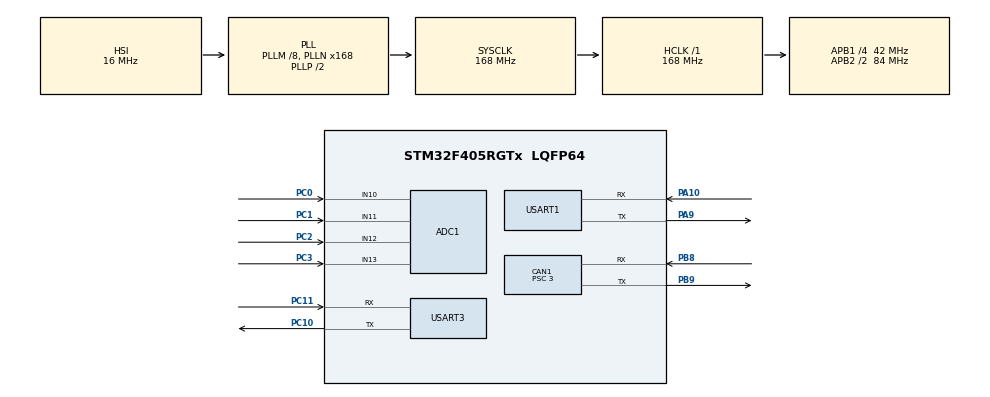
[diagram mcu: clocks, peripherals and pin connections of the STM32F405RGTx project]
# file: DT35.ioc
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ADC1.Channel-1\#ChannelRegularConversion=ADC_CHANNEL_10
ADC1.Channel-2\#ChannelRegularConversion=ADC_CHANNEL_11
ADC1.Channel-3\#ChannelRegularConversion=ADC_CHANNEL_12
ADC1.Channel-4\#ChannelRegularConversion=ADC_CHANNEL_13
ADC1.ContinuousConvMode=ENABLE
ADC1.DMAContinuousRequests=ENABLE
ADC1.NbrOfConversion=4
ADC1.NbrOfConversionFlag=1
ADC1.Rank-1\#ChannelRegularConversion=1
ADC1.Rank-2\#ChannelRegularConversion=2
ADC1.Rank-3\#ChannelRegularConversion=3
ADC1.Rank-4\#ChannelRegularConversion=4
ADC1.SamplingTime-1\#ChannelRegularConversion=ADC_SAMPLETIME_112CYCLES
ADC1.SamplingTime-2\#ChannelRegularConversion=ADC_SAMPLETIME_112CYCLES
ADC1.SamplingTime-3\#ChannelRegularConversion=ADC_SAMPLETIME_112CYCLES
ADC1.SamplingTime-4\#ChannelRegularConversion=ADC_SAMPLETIME_112CYCLES
ADC1.ScanConvMode=ENABLE
ADC1.master=1
CAN1.ABOM=ENABLE
CAN1.BS1=CAN_BS1_9TQ
CAN1.BS2=CAN_BS2_4TQ
CAN1.CalculateBaudRate=1000000
CAN1.CalculateTimeBit=1000
CAN1.CalculateTimeQuantum=71.42857142857143
CAN1.NART=ENABLE
CAN1.Prescaler=3
CAN1.TXFP=ENABLE
Dma.ADC1.0.Direction=DMA_PERIPH_TO_MEMORY
Dma.ADC1.0.FIFOMode=DMA_FIFOMODE_DISABLE
Dma.ADC1.0.Instance=DMA2_Stream0
Dma.ADC1.0.MemDataAlignment=DMA_MDATAALIGN_HALFWORD
Dma.ADC1.0.MemInc=DMA_MINC_ENABLE
Dma.ADC1.0.Mode=DMA_CIRCULAR
Dma.ADC1.0.PeriphDataAlignment=DMA_PDATAALIGN_HALFWORD
Dma.ADC1.0.PeriphInc=DMA_PINC_DISABLE
Dma.ADC1.0.Priority=DMA_PRIORITY_LOW
Dma.Request0=ADC1
Dma.Request1=USART3_RX
Dma.Request2=USART3_TX
Dma.Request3=USART1_RX
Dma.Request4=USART1_TX
Dma.USART1_RX.3.Direction=DMA_PERIPH_TO_MEMORY
Dma.USART1_RX.3.FIFOMode=DMA_FIFOMODE_DISABLE
Dma.USART1_RX.3.Instance=DMA2_Stream2
Dma.USART1_RX.3.MemDataAlignment=DMA_MDATAALIGN_BYTE
Dma.USART1_RX.3.MemInc=DMA_MINC_ENABLE
Dma.USART1_RX.3.Mode=DMA_NORMAL
Dma.USART1_RX.3.PeriphDataAlignment=DMA_PDATAALIGN_BYTE
Dma.USART1_RX.3.PeriphInc=DMA_PINC_DISABLE
Dma.USART1_RX.3.Priority=DMA_PRIORITY_LOW
Dma.USART1_TX.4.Direction=DMA_MEMORY_TO_PERIPH
Dma.USART1_TX.4.FIFOMode=DMA_FIFOMODE_DISABLE
Dma.USART1_TX.4.Instance=DMA2_Stream7
Dma.USART1_TX.4.MemDataAlignment=DMA_MDATAALIGN_BYTE
Dma.USART1_TX.4.MemInc=DMA_MINC_ENABLE
Dma.USART1_TX.4.Mode=DMA_NORMAL
Dma.USART1_TX.4.PeriphDataAlignment=DMA_PDATAALIGN_BYTE
Dma.USART1_TX.4.PeriphInc=DMA_PINC_DISABLE
Dma.USART1_TX.4.Priority=DMA_PRIORITY_LOW
Dma.USART3_RX.1.Direction=DMA_PERIPH_TO_MEMORY
Dma.USART3_RX.1.FIFOMode=DMA_FIFOMODE_DISABLE
Dma.USART3_RX.1.Instance=DMA1_Stream1
Dma.USART3_RX.1.MemDataAlignment=DMA_MDATAALIGN_BYTE
Dma.USART3_RX.1.MemInc=DMA_MINC_ENABLE
Dma.USART3_RX.1.Mode=DMA_NORMAL
Dma.USART3_RX.1.PeriphDataAlignment=DMA_PDATAALIGN_BYTE
Dma.USART3_RX.1.PeriphInc=DMA_PINC_DISABLE
Dma.USART3_RX.1.Priority=DMA_PRIORITY_LOW
Dma.USART3_TX.2.Direction=DMA_MEMORY_TO_PERIPH
Dma.USART3_TX.2.FIFOMode=DMA_FIFOMODE_DISABLE
Dma.USART3_TX.2.Instance=DMA1_Stream3
Dma.USART3_TX.2.MemDataAlignment=DMA_MDATAALIGN_BYTE
Dma.USART3_TX.2.MemInc=DMA_MINC_ENABLE
Dma.USART3_TX.2.Mode=DMA_NORMAL
Dma.USART3_TX.2.PeriphDataAlignment=DMA_PDATAALIGN_BYTE
Dma.USART3_TX.2.PeriphInc=DMA_PINC_DISABLE
Dma.USART3_TX.2.Priority=DMA_PRIORITY_LOW
Mcu.Family=STM32F4
Mcu.Name=STM32F405RGTx
Mcu.Package=LQFP64
NVIC.CAN1_RX0_IRQn=true\:3\:0\:true\:false\:true\:true\:true\:true
NVIC.CAN1_TX_IRQn=true\:0\:0\:false\:false\:true\:true\:true\:true
NVIC.DMA1_Stream1_IRQn=true\:0\:0\:false\:false\:true\:false\:true\:true
NVIC.DMA1_Stream3_IRQn=true\:0\:0\:false\:false\:true\:false\:true\:true
NVIC.DMA2_Stream0_IRQn=true\:1\:0\:true\:false\:true\:false\:true\:true
NVIC.DMA2_Stream2_IRQn=true\:0\:0\:false\:false\:true\:false\:true\:true
NVIC.DMA2_Stream7_IRQn=true\:0\:0\:false\:false\:true\:false\:true\:true
NVIC.PriorityGroup=NVIC_PRIORITYGROUP_4
NVIC.TIM1_UP_TIM10_IRQn=true\:0\:0\:false\:false\:true\:true\:true\:true
NVIC.TIM6_DAC_IRQn=true\:0\:0\:false\:false\:true\:true\:true\:true
NVIC.USART1_IRQn=true\:0\:0\:false\:false\:true\:true\:true\:true
NVIC.USART3_IRQn=true\:0\:0\:false\:false\:true\:true\:true\:true
PA10.Mode=Asynchronous
PA10.Signal=USART1_RX
PA13.Mode=Serial_Wire
PA13.Signal=SYS_JTMS-SWDIO
PA14.Mode=Serial_Wire
PA14.Signal=SYS_JTCK-SWCLK
PA9.Mode=Asynchronous
PA9.Signal=USART1_TX
PB8.Mode=CAN_Activate
PB8.Signal=CAN1_RX
PB9.Mode=CAN_Activate
PB9.Signal=CAN1_TX
PC0.Signal=ADCx_IN10
PC1.Signal=ADCx_IN11
PC10.Mode=Asynchronous
PC10.Signal=USART3_TX
PC11.Mode=Asynchronous
PC11.Signal=USART3_RX
PC2.Signal=ADCx_IN12
PC3.Signal=ADCx_IN13
PH0-OSC_IN.Mode=HSE-External-Oscillator
PH0-OSC_IN.Signal=RCC_OSC_IN
PH1-OSC_OUT.Mode=HSE-External-Oscillator
PH1-OSC_OUT.Signal=RCC_OSC_OUT
ProjectManager.HeapSize=0x200
ProjectManager.StackSize=0x400
ProjectManager.TargetToolchain=CMake
RCC.48MHZClocksFreq_Value=84000000
RCC.AHBFreq_Value=168000000
RCC.APB1CLKDivider=RCC_HCLK_DIV4
RCC.APB1Freq_Value=42000000
RCC.APB1TimFreq_Value=84000000
RCC.APB2CLKDivider=RCC_HCLK_DIV2
RCC.APB2Freq_Value=84000000
RCC.APB2TimFreq_Value=168000000
RCC.CortexFreq_Value=168000000
RCC.HCLKFreq_Value=168000000
RCC.HSE_VALUE=25000000
RCC.HSI_VALUE=16000000
RCC.LSE_VALUE=32768
RCC.PLLM=8
RCC.PLLN=168
RCC.SYSCLKFreq_VALUE=168000000
RCC.SYSCLKSource=RCC_SYSCLKSOURCE_PLLCLK
RCC.VCOOutputFreq_Value=336000000
SH.ADCx_IN10.0=ADC1_IN10,IN10
SH.ADCx_IN11.0=ADC1_IN11,IN11
SH.ADCx_IN12.0=ADC1_IN12,IN12
SH.ADCx_IN13.0=ADC1_IN13,IN13
TIM10.Period=10000-1
TIM10.Prescaler=168-1
TIM6.AutoReloadPreload=TIM_AUTORELOAD_PRELOAD_ENABLE
TIM6.Period=100-1
TIM6.Prescaler=1680-1
USART1.VirtualMode=VM_ASYNC
USART3.VirtualMode=VM_ASYNC
VP_TIM10_VS_ClockSourceINT.Mode=Enable_Timer
VP_TIM6_VS_ClockSourceINT.Mode=Enable_Timer
board=custom

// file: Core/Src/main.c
/* USER CODE BEGIN Header */
/**
  ******************************************************************************
  * @file           : main.c
  * @brief          : Main program body
  ******************************************************************************
  * @attention
  *
  * Copyright (c) 2025 STMicroelectronics.
  * All rights reserved.
  *
  * This software is licensed under terms that can be found in the LICENSE file
  * in the root directory of this software component.
  * If no LICENSE file comes with this software, it is provided AS-IS.
  *
  ******************************************************************************
  */
/* USER CODE END Header */
#include "main.h"
#include "adc.h"
#include "can.h"
#include "dma.h"
#include "tim.h"
#include "usart.h"
#include "gpio.h"

/* USER CODE BEGIN Includes */
#include <string.h>

#include "adc_scan.h"
#include "../Inc/callback.h"
#include "can_fifo.h"

/* USER CODE END Includes */

/* USER CODE BEGIN PV */
extern DMA_HandleTypeDef hdma_usart3_rx;
extern DMA_HandleTypeDef hdma_usart1_rx;
extern uint16_t can_id[4];             // 4 路 DT35 的 CAN ID
extern float calib_k[4], calib_b[4]; // 每个 DT35 的线性系数
extern float can_data[4];         // 4 路 DT35 的距离数据
uint8_t Com_Buff[50]={0};
extern uint8_t param_flag;
extern CanFifo_t can_fifo;
/* USER CODE END PV */

void SystemClock_Config(void);

/* USER CODE BEGIN 0 */
void float_to_u8(float f, uint8_t u8[4])
{
  uint32_t w;
  memcpy(&w, &f, 4); // 拿到 IEEE-754 位模式

  // 小端：最低位字节在前
  u8[0] = (w >> 0) & 0xFF;
  u8[1] = (w >> 8) & 0xFF;
  u8[2] = (w >> 16) & 0xFF;
  u8[3] = (w >> 24) & 0xFF;
  u8[4] = 0;
  u8[5] = 0;
  u8[6] = 0;
  u8[7] = 0;
}
/* USER CODE END 0 */

int main(void)
{

  /* MCU Configuration--------------------------------------------------------*/

  /* Reset of all peripherals, Initializes the Flash interface and the Systick. */
  HAL_Init();

  /* Configure the system clock */
  SystemClock_Config();

  /* Initialize all configured peripherals */
  MX_GPIO_Init();
  MX_DMA_Init();
  MX_ADC1_Init();
  MX_USART1_UART_Init();
  MX_USART3_UART_Init();
  MX_TIM6_Init();
  MX_TIM10_Init();
  MX_CAN1_Init();
  /* USER CODE BEGIN 2 */
  ADC_Init();
  HAL_TIM_Base_Start_IT(&htim10);

  HAL_UARTEx_ReceiveToIdle_DMA(&huart3, Com_Buff, 50);
  __HAL_DMA_DISABLE_IT(&hdma_usart3_rx, DMA_IT_HT);

  HAL_UARTEx_ReceiveToIdle_DMA(&huart1, Com_Buff, 50);
  __HAL_DMA_DISABLE_IT(&hdma_usart1_rx, DMA_IT_HT);
  /* USER CODE END 2 */

  /* Infinite loop */
  while (1)
  {

  }
}

void SystemClock_Config(void)
{
  RCC_OscInitTypeDef RCC_OscInitStruct = {0};
  RCC_ClkInitTypeDef RCC_ClkInitStruct = {0};

  /** Configure the main internal regulator output voltage
  */
  __HAL_RCC_PWR_CLK_ENABLE();
  __HAL_PWR_VOLTAGESCALING_CONFIG(PWR_REGULATOR_VOLTAGE_SCALE1);

  /** Initializes the RCC Oscillators according to the specified parameters
  * in the RCC_OscInitTypeDef structure.
  */
  RCC_OscInitStruct.OscillatorType = RCC_OSCILLATORTYPE_HSI;
  RCC_OscInitStruct.HSIState = RCC_HSI_ON;
  RCC_OscInitStruct.HSICalibrationValue = RCC_HSICALIBRATION_DEFAULT;
  RCC_OscInitStruct.PLL.PLLState = RCC_PLL_ON;
  RCC_OscInitStruct.PLL.PLLSource = RCC_PLLSOURCE_HSI;
  RCC_OscInitStruct.PLL.PLLM = 8;
  RCC_OscInitStruct.PLL.PLLN = 168;
  RCC_OscInitStruct.PLL.PLLP = RCC_PLLP_DIV2;
  RCC_OscInitStruct.PLL.PLLQ = 4;
  if (HAL_RCC_OscConfig(&RCC_OscInitStruct) != HAL_OK)
  {
    Error_Handler();
  }

  /** Initializes the CPU, AHB and APB buses clocks
  */
  RCC_ClkInitStruct.ClockType = RCC_CLOCKTYPE_HCLK|RCC_CLOCKTYPE_SYSCLK
                              |RCC_CLOCKTYPE_PCLK1|RCC_CLOCKTYPE_PCLK2;
  RCC_ClkInitStruct.SYSCLKSource = RCC_SYSCLKSOURCE_PLLCLK;
  RCC_ClkInitStruct.AHBCLKDivider = RCC_SYSCLK_DIV1;
  RCC_ClkInitStruct.APB1CLKDivider = RCC_HCLK_DIV4;
  RCC_ClkInitStruct.APB2CLKDivider = RCC_HCLK_DIV2;

  if (HAL_RCC_ClockConfig(&RCC_ClkInitStruct, FLASH_LATENCY_5) != HAL_OK)
  {
    Error_Handler();
  }
}

void Error_Handler(void)
{
  __disable_irq();
  while (1)
  {
  }
}
